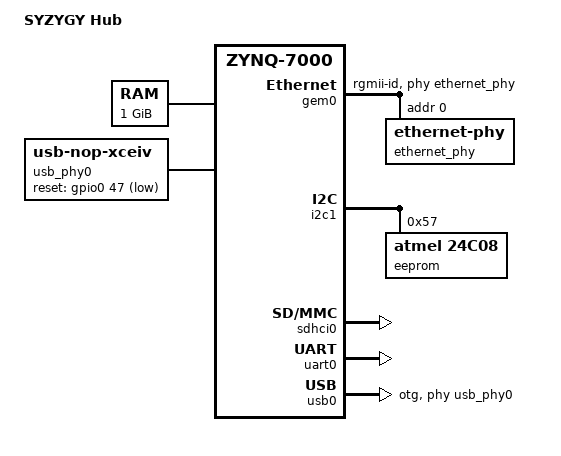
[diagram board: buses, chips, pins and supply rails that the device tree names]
// SPDX-License-Identifier: GPL-2.0+
/*
 * SYZYGY Hub DTS
 *
 *  Copyright (C) 2011 - 2015 Xilinx
 *  Copyright (C) 2017 Opal Kelly Inc.
 */
/dts-v1/;
/include/ "zynq-7000.dtsi"

/ {
	model = "SYZYGY Hub";
	compatible = "opalkelly,syzygy-hub", "xlnx,zynq-7000";

	aliases {
		ethernet0 = &gem0;
		serial0 = &uart0;
		mmc0 = &sdhci0;
		i2c0 = &i2c1;
	};

	memory@0 {
		device_type = "memory";
		reg = <0x0 0x40000000>;
	};

	chosen {
		bootargs = "";
		stdout-path = "serial0:115200n8";
		xlnx,eeprom = &eeprom;
	};

	usb_phy0: phy0 {
		#phy-cells = <0>;
		compatible = "usb-nop-xceiv";
		reset-gpios = <&gpio0 47 1>;
	};
};

&clkc {
	ps-clk-frequency = <50000000>;
};

&gem0 {
	status = "okay";
	phy-mode = "rgmii-id";
	phy-handle = <&ethernet_phy>;

	ethernet_phy: ethernet-phy@0 {
		reg = <0>;
		device_type = "ethernet-phy";
	};
};

&i2c1 {
	status = "okay";
	eeprom: eeprom@57 {
		compatible = "atmel,24c08"; /* not sure if this is correct */
		reg = <0x57>;
	};
};

&sdhci0 {
	u-boot,dm-pre-reloc;
	status = "okay";
};

&uart0 {
	u-boot,dm-pre-reloc;
	status = "okay";
};

&usb0 {
	status = "okay";
	dr_mode = "otg";
	usb-phy = <&usb_phy0>;
};
